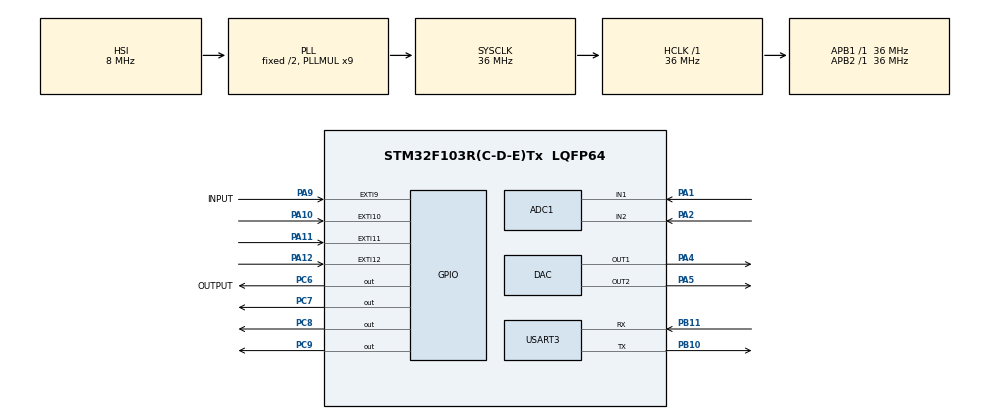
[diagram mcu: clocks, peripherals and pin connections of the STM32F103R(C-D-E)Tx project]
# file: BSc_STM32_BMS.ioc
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ADC1.Channel-0\#ChannelRegularConversion=ADC_CHANNEL_1
ADC1.Channel-1\#ChannelRegularConversion=ADC_CHANNEL_2
ADC1.ContinuousConvMode=ENABLE
ADC1.NbrOfConversion=2
ADC1.NbrOfConversionFlag=1
ADC1.Rank-0\#ChannelRegularConversion=1
ADC1.Rank-1\#ChannelRegularConversion=2
ADC1.SamplingTime-0\#ChannelRegularConversion=ADC_SAMPLETIME_239CYCLES_5
ADC1.SamplingTime-1\#ChannelRegularConversion=ADC_SAMPLETIME_239CYCLES_5
ADC1.master=1
Dma.ADC1.0.Direction=DMA_PERIPH_TO_MEMORY
Dma.ADC1.0.Instance=DMA1_Channel1
Dma.ADC1.0.MemDataAlignment=DMA_MDATAALIGN_HALFWORD
Dma.ADC1.0.MemInc=DMA_MINC_ENABLE
Dma.ADC1.0.Mode=DMA_CIRCULAR
Dma.ADC1.0.PeriphDataAlignment=DMA_PDATAALIGN_HALFWORD
Dma.ADC1.0.PeriphInc=DMA_PINC_DISABLE
Dma.ADC1.0.Priority=DMA_PRIORITY_LOW
Dma.Request0=ADC1
Mcu.Family=STM32F1
Mcu.Name=STM32F103R(C-D-E)Tx
Mcu.Package=LQFP64
NVIC.DMA1_Channel1_IRQn=true\:0\:0\:false\:false\:true\:false\:true\:true
NVIC.EXTI15_10_IRQn=true\:0\:0\:false\:false\:true\:true\:true\:true
NVIC.EXTI9_5_IRQn=true\:0\:0\:false\:false\:true\:true\:true\:true
NVIC.PriorityGroup=NVIC_PRIORITYGROUP_4
NVIC.USART3_IRQn=true\:0\:0\:false\:false\:true\:true\:true\:true
PA1.Signal=ADCx_IN1
PA10.GPIO_ModeDefaultEXTI=GPIO_MODE_IT_RISING_FALLING
PA10.GPIO_PuPd=GPIO_PULLUP
PA10.Signal=GPXTI10
PA11.GPIO_ModeDefaultEXTI=GPIO_MODE_IT_RISING_FALLING
PA11.GPIO_PuPd=GPIO_PULLUP
PA11.Signal=GPXTI11
PA12.GPIO_ModeDefaultEXTI=GPIO_MODE_IT_RISING_FALLING
PA12.GPIO_PuPd=GPIO_PULLUP
PA12.Signal=GPXTI12
PA13.Mode=Serial_Wire
PA13.Signal=SYS_JTMS-SWDIO
PA14.Mode=Serial_Wire
PA14.Signal=SYS_JTCK-SWCLK
PA2.Signal=ADCx_IN2
PA4.Signal=COMP_DAC1_group
PA5.Signal=COMP_DAC2_group
PA9.GPIO_Label=INPUT
PA9.GPIO_ModeDefaultEXTI=GPIO_MODE_IT_RISING_FALLING
PA9.GPIO_PuPd=GPIO_PULLUP
PA9.Signal=GPXTI9
PB10.Mode=Asynchronous
PB10.Signal=USART3_TX
PB11.Mode=Asynchronous
PB11.Signal=USART3_RX
PC6.GPIO_Label=OUTPUT
PC6.Signal=GPIO_Output
PC7.Signal=GPIO_Output
PC8.Signal=GPIO_Output
PC9.Signal=GPIO_Output
PD0-OSC_IN.Mode=HSE-External-Oscillator
PD0-OSC_IN.Signal=RCC_OSC_IN
PD1-OSC_OUT.Mode=HSE-External-Oscillator
PD1-OSC_OUT.Signal=RCC_OSC_OUT
ProjectManager.HeapSize=0x200
ProjectManager.StackSize=0x400
ProjectManager.TargetToolchain=STM32CubeIDE
RCC.ADCPresc=RCC_ADCPCLK2_DIV4
RCC.AHBFreq_Value=36000000
RCC.APB1Freq_Value=36000000
RCC.APB1TimFreq_Value=36000000
RCC.APB2Freq_Value=36000000
RCC.APB2TimFreq_Value=36000000
RCC.HCLKFreq_Value=36000000
RCC.PLLMUL=RCC_PLL_MUL9
RCC.SYSCLKFreq_VALUE=36000000
RCC.SYSCLKSource=RCC_SYSCLKSOURCE_PLLCLK
RCC.USBFreq_Value=36000000
SH.ADCx_IN1.0=ADC1_IN1,IN1
SH.ADCx_IN2.0=ADC1_IN2,IN2
SH.COMP_DAC1_group.0=DAC_OUT1,DAC_OUT1
SH.COMP_DAC2_group.0=DAC_OUT2,DAC_OUT2
USART3.Parity=PARITY_EVEN
USART3.VirtualMode=VM_ASYNC
USART3.WordLength=WORDLENGTH_9B
board=custom

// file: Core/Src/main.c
/* USER CODE BEGIN Header */
/**
  ******************************************************************************
  * @file           : main.c
  * @brief          : Main program body
  ******************************************************************************
  * @attention
  *
  * Copyright (c) 2024 STMicroelectronics.
  * All rights reserved.
  *
  * This software is licensed under terms that can be found in the LICENSE file
  * in the root directory of this software component.
  * If no LICENSE file comes with this software, it is provided AS-IS.
  *
  ******************************************************************************
  */
/* USER CODE END Header */
#include "main.h"

/* USER CODE BEGIN Includes */
#include <stdio.h>
#include <stdlib.h>
#include <string.h>
#include <stdbool.h>
/* USER CODE END Includes */

/* USER CODE BEGIN PD */

#define INTERVAL_MS 5000
/* USER CODE END PD */

ADC_HandleTypeDef hadc1;
DMA_HandleTypeDef hdma_adc1;

DAC_HandleTypeDef hdac;

UART_HandleTypeDef huart3;

void SystemClock_Config(void);
static void MX_GPIO_Init(void);
static void MX_DMA_Init(void);
static void MX_ADC1_Init(void);
static void MX_DAC_Init(void);
static void MX_USART3_UART_Init(void);

/* USER CODE BEGIN 0 */
volatile uint16_t ADC_values[2];

int16_t buffer[4] = {0};
int16_t bufferFlipped[4] = {0};

uint8_t combinedBuffer[9];
uint8_t digital_gpio = 0;
uint8_t Rx_buffer[10] = {0};
uint8_t Rx_byte;
uint8_t byte_count = 0;
uint32_t timestamp = 0;
uint32_t interval_timestamp = 0;

bool isPowerOfTwo(int n){
  return (n > 0) && ((n & (n - 1)) == 0);
}
void saveBuffer(){
  buffer[0] = ADC_values[0];
  buffer[1] = ADC_values[1];
  combinedBuffer[0] = digital_gpio;
  for(int i = 0; i < 4; ++i){
    combinedBuffer[i*2 + 1] = (buffer[i] >> 8) & 0xFF;
    combinedBuffer[i*2 + 2] = buffer[i] & 0xFF;
  }
}
void HAL_UART_RxCpltCallback(UART_HandleTypeDef *huart)
{
  if(HAL_GetTick() - timestamp > 10) byte_count = 0;
  timestamp = HAL_GetTick();
  Rx_buffer[byte_count++] = Rx_byte;

  switch(byte_count){
    case 3:
      if(Rx_buffer[0] == 0x00 && Rx_buffer[1] == 0x00 && Rx_buffer[2] == 0x00)
	HAL_UART_Transmit_IT(&huart3, &digital_gpio, 1);
      else if(Rx_buffer[0] == 0xFF && Rx_buffer[1] == 0x00 && Rx_buffer[2] == 0x00){
	saveBuffer();

	HAL_UART_Transmit_IT(&huart3, (uint8_t *) bufferFlipped, 8);
      }
      else if(Rx_buffer[0] == 0x0F && Rx_buffer[1] == 0x00 && Rx_buffer[2] == 0x00){

	saveBuffer();
	HAL_UART_Transmit_IT(&huart3, combinedBuffer, 9);
      }
    break;

    case 4:
      if(Rx_buffer[0] == 0x00 && Rx_buffer[1] == 0xFF && Rx_buffer[2] == 0x00){

	digital_gpio = (Rx_buffer[3] & 0xF0) | (digital_gpio & 0x0F);
	for(int i = 0; i < 4; ++i)
	  HAL_GPIO_WritePin(OUTPUT_GPIO_Port, OUTPUT_Pin << i, (digital_gpio >> (4 + i)) & 1);
	saveBuffer();
	HAL_UART_Transmit_IT(&huart3, combinedBuffer, 9);
      }

    break;

    case 5:
      if(Rx_buffer[0] == 0x00 && Rx_buffer[1] == 0xFF && Rx_buffer[2] == 0xFF){
	if(isPowerOfTwo(Rx_buffer[3]) && Rx_buffer[3] <= 8){
	  if(Rx_buffer[4] == 0xFF)
	    digital_gpio = digital_gpio | (Rx_buffer[3]<<4);
	  else
	    digital_gpio = digital_gpio & ~(Rx_buffer[3]<<4);
	}
	for(int i = 0; i < 4; ++i)
	    HAL_GPIO_WritePin(OUTPUT_GPIO_Port, OUTPUT_Pin << i, (digital_gpio >> (4 + i)) & 1);
	saveBuffer();
	byte_count = 0;
	HAL_UART_Transmit_IT(&huart3, combinedBuffer, 9);
      }
    break;

    case 6:
      //ANALOG
      if(Rx_buffer[0] == 0xFF && Rx_buffer[1] == 0xFF && Rx_buffer[2] == 0xFF){
	  if(Rx_buffer[3] == 0x04){
	      buffer[2] = ((uint16_t)Rx_buffer[4] << 8) | (uint16_t)Rx_buffer[5];

	      HAL_DAC_SetValue(&hdac, DAC_CHANNEL_1, DAC_ALIGN_12B_R, (uint32_t)buffer[2]);
	  }
	  else if(Rx_buffer[3] == 0x06){
	      buffer[3] = ((uint16_t)Rx_buffer[4] << 8) | (uint16_t)Rx_buffer[5];

	      HAL_DAC_SetValue(&hdac, DAC_CHANNEL_2, DAC_ALIGN_12B_R, (uint32_t)buffer[3]);
	  }
	  saveBuffer();
	  byte_count = 0;
	  HAL_UART_Transmit_IT(&huart3, (uint8_t *) combinedBuffer, 9);
      }
    break;

    case 7:
      byte_count = 0;
      Rx_buffer[byte_count++] = Rx_byte;
    break;

    default:

    break;
  }

  HAL_UART_Receive_IT(&huart3, &Rx_byte, 1);
}

void HAL_UART_TxCpltCallback(UART_HandleTypeDef *huart)
{
  if(HAL_GetTick() - timestamp > 10)
    byte_count = 0;
}

int get_pos(uint16_t pin){
  int pos = 0;
  while(pin > 1){
      pin >>= 1;
      pos++;
  }
  return pos - 9;
}
void HAL_GPIO_EXTI_Callback(uint16_t GPIO_Pin)
{
  int pos = get_pos(GPIO_Pin);
  if(!HAL_GPIO_ReadPin(INPUT_GPIO_Port, GPIO_Pin)){
      digital_gpio = digital_gpio | (1 << (pos) );
  }
  else{
      digital_gpio = digital_gpio & ~(1 << (pos));
  }
  saveBuffer();
  HAL_UART_Transmit_IT(&huart3, combinedBuffer, 9);
}
/* USER CODE END 0 */

int main(void)
{

  /* MCU Configuration--------------------------------------------------------*/

  /* Reset of all peripherals, Initializes the Flash interface and the Systick. */
  HAL_Init();

  /* Configure the system clock */
  SystemClock_Config();

  /* Initialize all configured peripherals */
  MX_GPIO_Init();
  MX_DMA_Init();
  MX_ADC1_Init();
  MX_DAC_Init();
  MX_USART3_UART_Init();
  /* USER CODE BEGIN 2 */
  HAL_ADCEx_Calibration_Start(&hadc1);
  HAL_ADC_Start_DMA(&hadc1, (uint32_t *)ADC_values, 2);

  HAL_DAC_Start(&hdac, DAC_CHANNEL_1);
  HAL_DAC_Start(&hdac, DAC_CHANNEL_2);

  HAL_DAC_SetValue(&hdac, DAC_CHANNEL_1, DAC_ALIGN_12B_R, 0);
  HAL_DAC_SetValue(&hdac, DAC_CHANNEL_2, DAC_ALIGN_12B_R, 0);

  HAL_UART_Receive_IT(&huart3, &Rx_byte, 1);
  for(int i = 0; i < 4; ++i)
    if(!HAL_GPIO_ReadPin(INPUT_GPIO_Port, INPUT_Pin << i)){
	  digital_gpio = digital_gpio | (1 << (i) );
    }
    else{
	digital_gpio = digital_gpio & ~(1 << (i));

    }

  /* USER CODE END 2 */

  /* Infinite loop */
  /* USER CODE BEGIN WHILE */
  while (1)
  {
      saveBuffer();
      HAL_UART_Transmit_IT(&huart3, combinedBuffer, 9);
      interval_timestamp = HAL_GetTick();
      while(HAL_GetTick() - interval_timestamp < INTERVAL_MS);

    /* USER CODE END WHILE */

  }
}

void SystemClock_Config(void)
{
  RCC_OscInitTypeDef RCC_OscInitStruct = {0};
  RCC_ClkInitTypeDef RCC_ClkInitStruct = {0};
  RCC_PeriphCLKInitTypeDef PeriphClkInit = {0};

  /** Initializes the RCC Oscillators according to the specified parameters
  * in the RCC_OscInitTypeDef structure.
  */
  RCC_OscInitStruct.OscillatorType = RCC_OSCILLATORTYPE_HSI;
  RCC_OscInitStruct.HSIState = RCC_HSI_ON;
  RCC_OscInitStruct.HSICalibrationValue = RCC_HSICALIBRATION_DEFAULT;
  RCC_OscInitStruct.PLL.PLLState = RCC_PLL_ON;
  RCC_OscInitStruct.PLL.PLLSource = RCC_PLLSOURCE_HSI_DIV2;
  RCC_OscInitStruct.PLL.PLLMUL = RCC_PLL_MUL9;
  if (HAL_RCC_OscConfig(&RCC_OscInitStruct) != HAL_OK)
  {
    Error_Handler();
  }

  /** Initializes the CPU, AHB and APB buses clocks
  */
  RCC_ClkInitStruct.ClockType = RCC_CLOCKTYPE_HCLK|RCC_CLOCKTYPE_SYSCLK
                              |RCC_CLOCKTYPE_PCLK1|RCC_CLOCKTYPE_PCLK2;
  RCC_ClkInitStruct.SYSCLKSource = RCC_SYSCLKSOURCE_PLLCLK;
  RCC_ClkInitStruct.AHBCLKDivider = RCC_SYSCLK_DIV1;
  RCC_ClkInitStruct.APB1CLKDivider = RCC_HCLK_DIV1;
  RCC_ClkInitStruct.APB2CLKDivider = RCC_HCLK_DIV1;

  if (HAL_RCC_ClockConfig(&RCC_ClkInitStruct, FLASH_LATENCY_1) != HAL_OK)
  {
    Error_Handler();
  }
  PeriphClkInit.PeriphClockSelection = RCC_PERIPHCLK_ADC;
  PeriphClkInit.AdcClockSelection = RCC_ADCPCLK2_DIV4;
  if (HAL_RCCEx_PeriphCLKConfig(&PeriphClkInit) != HAL_OK)
  {
    Error_Handler();
  }
}

static void MX_ADC1_Init(void)
{

  ADC_ChannelConfTypeDef sConfig = {0};

  /** Common config
  */
  hadc1.Instance = ADC1;
  hadc1.Init.ScanConvMode = ADC_SCAN_ENABLE;
  hadc1.Init.ContinuousConvMode = ENABLE;
  hadc1.Init.DiscontinuousConvMode = DISABLE;
  hadc1.Init.ExternalTrigConv = ADC_SOFTWARE_START;
  hadc1.Init.DataAlign = ADC_DATAALIGN_RIGHT;
  hadc1.Init.NbrOfConversion = 2;
  if (HAL_ADC_Init(&hadc1) != HAL_OK)
  {
    Error_Handler();
  }

  /** Configure Regular Channel
  */
  sConfig.Channel = ADC_CHANNEL_1;
  sConfig.Rank = ADC_REGULAR_RANK_1;
  sConfig.SamplingTime = ADC_SAMPLETIME_239CYCLES_5;
  if (HAL_ADC_ConfigChannel(&hadc1, &sConfig) != HAL_OK)
  {
    Error_Handler();
  }

  /** Configure Regular Channel
  */
  sConfig.Channel = ADC_CHANNEL_2;
  sConfig.Rank = ADC_REGULAR_RANK_2;
  if (HAL_ADC_ConfigChannel(&hadc1, &sConfig) != HAL_OK)
  {
    Error_Handler();
  }

}

static void MX_DAC_Init(void)
{

  DAC_ChannelConfTypeDef sConfig = {0};

  /** DAC Initialization
  */
  hdac.Instance = DAC;
  if (HAL_DAC_Init(&hdac) != HAL_OK)
  {
    Error_Handler();
  }

  /** DAC channel OUT1 config
  */
  sConfig.DAC_Trigger = DAC_TRIGGER_NONE;
  sConfig.DAC_OutputBuffer = DAC_OUTPUTBUFFER_ENABLE;
  if (HAL_DAC_ConfigChannel(&hdac, &sConfig, DAC_CHANNEL_1) != HAL_OK)
  {
    Error_Handler();
  }

  /** DAC channel OUT2 config
  */
  if (HAL_DAC_ConfigChannel(&hdac, &sConfig, DAC_CHANNEL_2) != HAL_OK)
  {
    Error_Handler();
  }

}

static void MX_USART3_UART_Init(void)
{

  huart3.Instance = USART3;
  huart3.Init.BaudRate = 115200;
  huart3.Init.WordLength = UART_WORDLENGTH_9B;
  huart3.Init.StopBits = UART_STOPBITS_1;
  huart3.Init.Parity = UART_PARITY_EVEN;
  huart3.Init.Mode = UART_MODE_TX_RX;
  huart3.Init.HwFlowCtl = UART_HWCONTROL_NONE;
  huart3.Init.OverSampling = UART_OVERSAMPLING_16;
  if (HAL_UART_Init(&huart3) != HAL_OK)
  {
    Error_Handler();
  }

}

static void MX_DMA_Init(void)
{

  /* DMA controller clock enable */
  __HAL_RCC_DMA1_CLK_ENABLE();

  /* DMA interrupt init */
  /* DMA1_Channel1_IRQn interrupt configuration */
  HAL_NVIC_SetPriority(DMA1_Channel1_IRQn, 0, 0);
  HAL_NVIC_EnableIRQ(DMA1_Channel1_IRQn);

}

static void MX_GPIO_Init(void)
{
  GPIO_InitTypeDef GPIO_InitStruct = {0};

  /* GPIO Ports Clock Enable */
  __HAL_RCC_GPIOD_CLK_ENABLE();
  __HAL_RCC_GPIOA_CLK_ENABLE();
  __HAL_RCC_GPIOB_CLK_ENABLE();
  __HAL_RCC_GPIOC_CLK_ENABLE();

  /*Configure GPIO pin Output Level */
  HAL_GPIO_WritePin(GPIOC, OUTPUT_Pin|GPIO_PIN_7|GPIO_PIN_8|GPIO_PIN_9, GPIO_PIN_RESET);

  /*Configure GPIO pins : OUTPUT_Pin PC7 PC8 PC9 */
  GPIO_InitStruct.Pin = OUTPUT_Pin|GPIO_PIN_7|GPIO_PIN_8|GPIO_PIN_9;
  GPIO_InitStruct.Mode = GPIO_MODE_OUTPUT_PP;
  GPIO_InitStruct.Pull = GPIO_NOPULL;
  GPIO_InitStruct.Speed = GPIO_SPEED_FREQ_LOW;
  HAL_GPIO_Init(GPIOC, &GPIO_InitStruct);

  /*Configure GPIO pins : INPUT_Pin PA10 PA11 PA12 */
  GPIO_InitStruct.Pin = INPUT_Pin|GPIO_PIN_10|GPIO_PIN_11|GPIO_PIN_12;
  GPIO_InitStruct.Mode = GPIO_MODE_IT_RISING_FALLING;
  GPIO_InitStruct.Pull = GPIO_PULLUP;
  HAL_GPIO_Init(GPIOA, &GPIO_InitStruct);

  /* EXTI interrupt init*/
  HAL_NVIC_SetPriority(EXTI9_5_IRQn, 0, 0);
  HAL_NVIC_EnableIRQ(EXTI9_5_IRQn);

  HAL_NVIC_SetPriority(EXTI15_10_IRQn, 0, 0);
  HAL_NVIC_EnableIRQ(EXTI15_10_IRQn);

}

void Error_Handler(void)
{
  __disable_irq();
  while (1)
  {
  }
}
